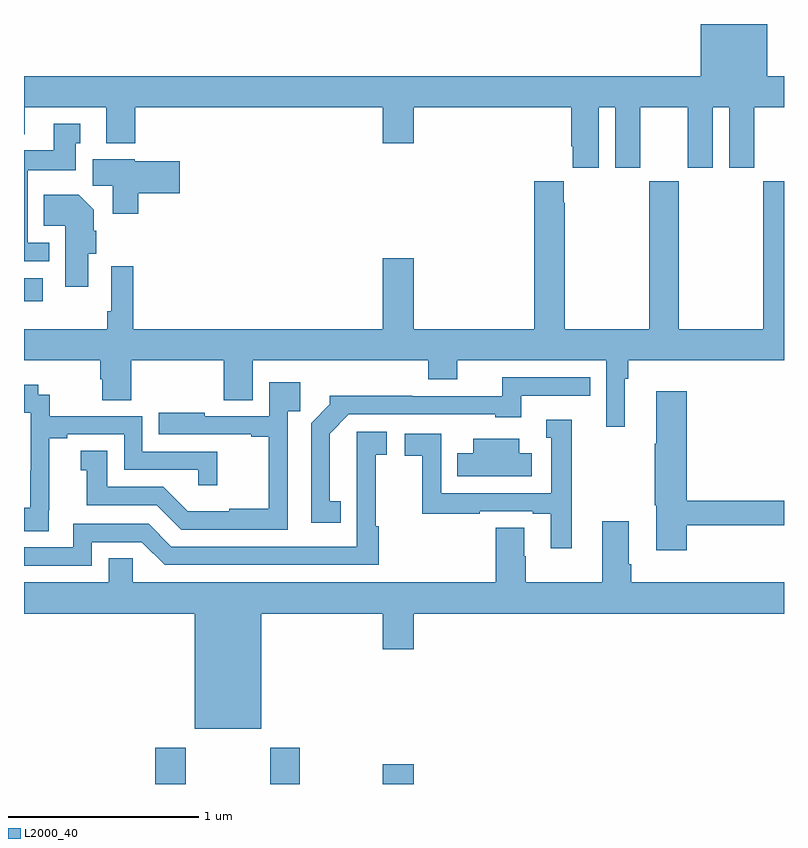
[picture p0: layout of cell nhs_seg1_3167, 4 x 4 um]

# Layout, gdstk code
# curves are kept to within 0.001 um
import gdstk
lib = gdstk.Library(unit=1e-6, precision=1e-09)
def R(c, l, rs):  # rectangles x0, y0, x1, y1
    for r in rs: c.add(gdstk.rectangle(r[:2], r[2:], *l))
def P(c, l, *ps):  # polygons
    for p in ps: c.add(gdstk.Polygon(p, *l))
L2000_40 = (2000, 40)

nhs_seg1_3167 = lib.new_cell('nhs_seg1_3167')
R(nhs_seg1_3167, L2000_40, [(283.691,520.199,283.851,520.39), (284.296,520.199,284.451,520.39), (284.888,520.199,285.052,520.303), (283,522.74,283.099,522.862)])
P(nhs_seg1_3167, L2000_40, [(286.024,523.76),(286.112,523.76),(286.112,523.443),(286.243,523.443),(286.243,523.76),(286.493,523.76),(286.493,523.443),(286.624,523.443),(286.624,523.76),(286.712,523.76),(286.712,523.443),(286.843,523.443),(286.843,523.76),(287,523.76),(287,523.924),(286.912,523.924),(286.912,524.199),(286.562,524.199),(286.562,523.924),(283,523.924),(283,523.619),(283.003,523.619),(283.003,523.76),(283.433,523.76),(283.433,523.571),(283.586,523.571),(283.586,523.76),(284.888,523.76),(284.888,523.572),(285.052,523.572),(285.052,523.76),(285.881,523.76),(285.881,523.555),(285.887,523.555),(285.887,523.443),(286.024,523.443)],
  [(283.132,523.047),(283.02,523.047),(283.02,523.43),(283.273,523.43),(283.273,523.572),(283.297,523.572),(283.297,523.675),(283.157,523.675),(283.157,523.534),(283,523.534),(283,522.951),(283.132,522.951)],
  [(283.601,523.307),(283.819,523.307),(283.819,523.477),(283.584,523.477),(283.584,523.486),(283.361,523.486),(283.361,523.348),(283.466,523.348),(283.466,523.2),(283.601,523.2)],
  [(286.162,522.332),(286.181,522.332),(286.181,522.428),(287,522.428),(287,523.371),(286.891,523.371),(286.891,522.592),(286.446,522.592),(286.446,523.371),(286.291,523.371),(286.291,522.592),(285.846,522.592),(285.846,523.259),(285.841,523.259),(285.841,523.371),(285.686,523.371),(285.686,522.592),(285.052,522.592),(285.052,522.967),(284.888,522.967),(284.888,522.592),(283.574,522.592),(283.574,522.925),(283.458,522.925),(283.458,522.688),(283.438,522.688),(283.438,522.592),(283,522.592),(283,522.428),(283.4,522.428),(283.4,522.33),(283.412,522.33),(283.412,522.22),(283.565,522.22),(283.565,522.428),(284.051,522.428),(284.051,522.22),(284.203,522.22),(284.203,522.428),(285.128,522.428),(285.128,522.329),(285.28,522.329),(285.28,522.428),(286.065,522.428),(286.065,522.078),(286.162,522.078)],
  [(283.339,522.99),(283.379,522.99),(283.379,523.112),(283.366,523.112),(283.366,523.222),(283.288,523.3),(283.105,523.3),(283.105,523.136),(283.217,523.136),(283.217,522.816),(283.339,522.816)],
  [(284.666,521.687),(284.608,521.687),(284.608,522.043),(284.709,522.144),(285.48,522.144),(285.48,522.128),(285.616,522.128),(285.616,522.243),(285.98,522.243),(285.98,522.339),(285.517,522.339),(285.517,522.24),(285.044,522.24),(285.044,522.242),(284.61,522.242),(284.61,522.197),(284.511,522.098),(284.511,521.574),(284.666,521.574)],
  [(284.388,522.161),(284.453,522.161),(284.453,522.313),(284.292,522.313),(284.292,522.135),(283.951,522.135),(283.951,522.154),(283.708,522.154),(283.708,522.039),(284.195,522.039),(284.195,522.027),(284.287,522.027),(284.287,521.647),(284.081,521.647),(284.081,521.635),(283.862,521.635),(283.734,521.763),(283.438,521.763),(283.438,521.954),(283.298,521.954),(283.298,521.851),(283.331,521.851),(283.331,521.667),(283.698,521.667),(283.827,521.538),(284.388,521.538)],
  [(283.13,521.641),(283.132,521.641),(283.132,522.019),(283.228,522.019),(283.228,522.039),(283.527,522.039),(283.527,521.853),(283.917,521.853),(283.917,521.772),(284.018,521.772),(284.018,521.949),(283.623,521.949),(283.623,522.135),(283.136,522.135),(283.136,522.249),(283.074,522.249),(283.074,522.301),(283,522.301),(283,522.153),(283.035,522.153),(283.035,521.849),(283.034,521.849),(283.034,521.652),(283,521.652),(283,521.53),(283.13,521.53)],
  [(286.487,521.562),(287,521.562),(287,521.69),(286.487,521.69),(286.487,522.265),(286.328,522.265),(286.328,521.99),(286.321,521.99),(286.321,521.667),(286.328,521.667),(286.328,521.43),(286.487,521.43)],
  [(285.883,522.115),(285.749,522.115),(285.749,522.021),(285.774,522.021),(285.774,521.73),(285.195,521.73),(285.195,522.042),(285.003,522.042),(285.003,521.926),(285.097,521.926),(285.097,521.621),(285.398,521.621),(285.398,521.634),(285.677,521.634),(285.677,521.621),(285.773,521.621),(285.773,521.439),(285.883,521.439)],
  [(283.356,521.472),(283.62,521.472),(283.74,521.352),(284.867,521.352),(284.867,521.555),(284.85,521.555),(284.85,521.931),(284.908,521.931),(284.908,522.052),(284.75,522.052),(284.751,521.448),(283.776,521.448),(283.656,521.568),(283.26,521.568),(283.26,521.445),(283,521.445),(283,521.349),(283.356,521.349)],
  [(285.673,521.941),(285.607,521.941),(285.607,522.016),(285.365,522.016),(285.365,521.941),(285.28,521.941),(285.28,521.819),(285.673,521.819)],
  [(284.248,521.096),(284.888,521.096),(284.888,520.908),(285.052,520.908),(285.052,521.096),(287,521.096),(287,521.26),(286.196,521.26),(286.196,521.356),(286.183,521.356),(286.183,521.581),(286.043,521.581),(286.043,521.26),(285.642,521.26),(285.642,521.399),(285.634,521.399),(285.634,521.549),(285.482,521.549),(285.482,521.26),(283.572,521.26),(283.572,521.387),(283.445,521.387),(283.445,521.26),(283,521.26),(283,521.096),(283.898,521.096),(283.898,520.49),(284.248,520.49)])

lib.write_gds('nhs_seg1_3167.gds')
